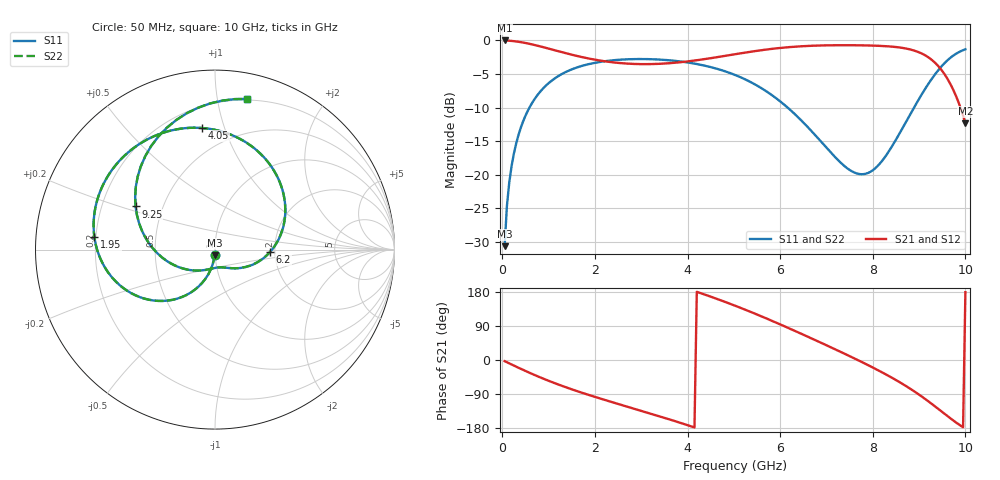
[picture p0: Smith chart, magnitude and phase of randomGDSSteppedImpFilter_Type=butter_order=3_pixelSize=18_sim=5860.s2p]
! freq	dB(S11)	phase(S11)	dB(S12)	phase(S12)
!  dB(S21)	phase(S21)	dB(S22)	phase(S22)
!S-par simulation data
#  GHz  S  DB  R 50
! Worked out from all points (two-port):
!   200 points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, 50 MHz to 10 GHz, reference 50 ohm
!   highest |S21| = -0.01 dB at 50 MHz (marker M1); lowest = -12.4 dB at 10 GHz (marker M2)
!   |S21| within 3 dB of the highest: start of sweep to 2.116 GHz; 4.141 GHz to 9.293 GHz (5.152 GHz wide, 76.7 % of centre)
!   lowest |S11| = -30.6 dB at 50 MHz (marker M3), VSWR 1.06, Z = 49.8 - j2.92 ohm
!   |S11| at or under -10 dB: start of sweep to 587 MHz; 6.161 GHz to 8.891 GHz (2.73 GHz wide, 36.3 % of centre)
!   |S22| runs from -30.6 to -1.3 dB; largest |S21 - S12| = 0
!   S11 on the Smith chart (normalised r, x): 50 MHz: 1.00, -0.06; 1.95 GHz: 0.19, +0.05; 4.05 GHz: 0.33, +0.84; 6.2 GHz: 1.89, -0.05; 9.25 GHz: 0.35, +0.22; 10 GHz: 0.19, +1.22
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0.05  -30.63 -93.1  -0.01 -3.0  -0.01 -3.0  -30.63 -93.1
0.1  -24.65 -96.3  -0.02 -6.0  -0.02 -6.0  -24.65 -96.3
0.2  -18.73 -102.3  -0.08 -11.8  -0.08 -11.8  -18.73 -102.3
0.5  -11.22 -119.5  -0.38 -28.9  -0.38 -28.9  -11.22 -119.4
1.05  -6.08 -147.9  -1.31 -57.3  -1.31 -57.3  -6.08 -147.8
1.75  -3.73 -178.2  -2.53 -87.6  -2.53 -87.6  -3.73 -178.2
1.95  -3.40 174.0  -2.81 -95.4  -2.81 -95.4  -3.40 174.0
2.65  -2.83 148.1  -3.43 -121.4  -3.43 -121.4  -2.83 148.1
3.4  -2.86 120.8  -3.48 -148.8  -3.48 -148.8  -2.86 120.8
4.05  -3.34 95.9  -3.09 -174.0  -3.09 -174.0  -3.34 96.0
5.05  -5.21 53.2  -2.03 142.2  -2.03 142.2  -5.21 53.3
5.7  -7.57 22.3  -1.36 109.8  -1.36 109.8  -7.57 22.4
6.2  -10.24 -2.4  -1.00 83.3  -1.00 83.3  -10.24 -2.2
6.7  -13.67 -26.7  -0.79 55.8  -0.79 55.8  -13.67 -26.5
7.15  -17.11 -48.1  -0.72 30.4  -0.72 30.4  -17.11 -47.9
7.55  -19.50 -68.8  -0.72 7.3  -0.72 7.3  -19.49 -68.6
7.95  -19.56 -95.8  -0.76 -16.7  -0.76 -16.7  -19.56 -95.7
8.35  -16.49 -128.8  -0.89 -42.5  -0.89 -42.5  -16.49 -128.8
8.85  -10.50 -171.6  -1.42 -79.1  -1.42 -79.1  -10.50 -171.6
9.25  -5.96 151.5  -2.77 -113.6  -2.77 -113.6  -5.96 151.5
9.6  -3.04 116.6  -5.57 -146.8  -5.57 -146.8  -3.04 116.6
10  -1.33 78.0  -12.35 179.0  -12.35 179.0  -1.33 78.0
